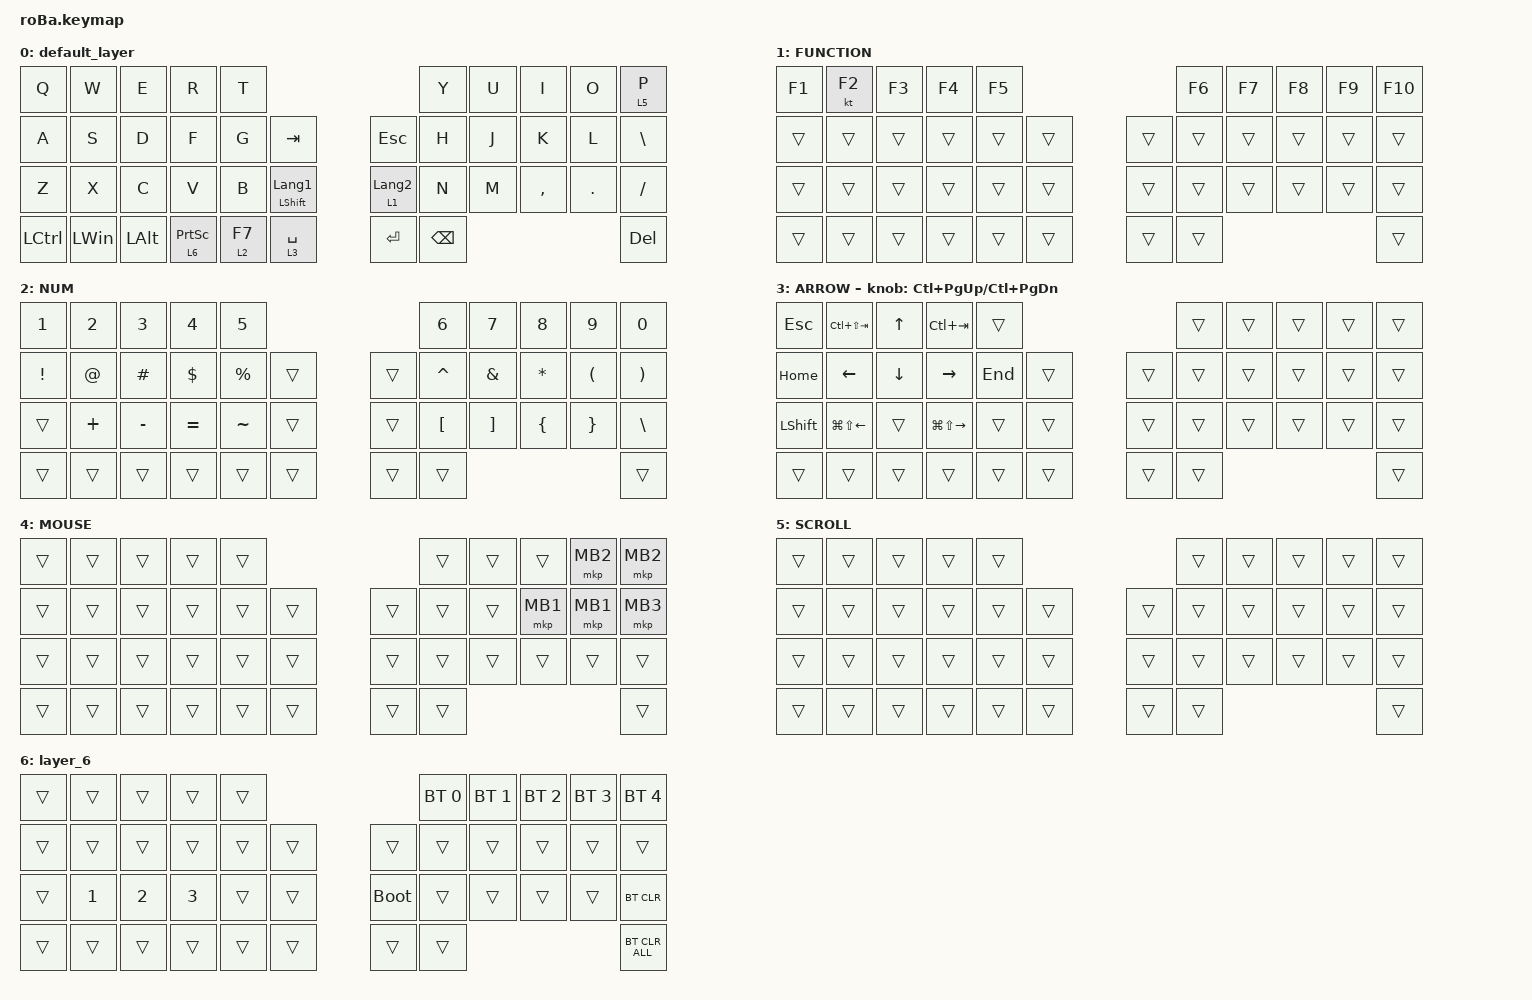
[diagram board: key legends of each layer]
#include <behaviors.dtsi>
#include <dt-bindings/zmk/bt.h>
#include <dt-bindings/zmk/keys.h>
#include <dt-bindings/zmk/pointing.h>

&mt {
    flavor = "balanced";
    quick-tap-ms = <0>;
};

&trackball {
    automouse-layer = <4>;
    scroll-layers = <5>;

    // arrows {
    //     layers = <3>;
    //     bindings =
    //         <&kp RIGHT_ARROW>,
    //         <&kp LEFT_ARROW>,
    //         <&kp UP_ARROW>,
    //         <&kp DOWN_ARROW>;
    //     tick = <10>;
    //     wait-ms = <5>;
    //     tap-ms = <5>;
    // };
};

/ {
    combos {
        compatible = "zmk,combos";

        tab {
            bindings = <&kp TAB>;
            key-positions = <11 12>;
        };

        shift_tab {
            bindings = <&kp LS(TAB)>;
            key-positions = <12 13>;
        };

        muhennkann {
            bindings = <&to_layer_0 INT_MUHENKAN>;
            key-positions = <11 10>;
        };

        double_quotation {
            bindings = <&kp DOUBLE_QUOTES>;
            key-positions = <20 21>;
        };

        eq {
            bindings = <&kp EQUAL>;
            key-positions = <24 25>;
        };
    };

    macros {
        to_layer_0: to_layer_0 {
            compatible = "zmk,behavior-macro-one-param";
            #binding-cells = <1>;
            bindings = <&to 0 &macro_param_1to1 &kp MACRO_PLACEHOLDER>;
            label = "TO_LAYER_0";
        };
    };

    behaviors {
        lt_to_layer_0: lt_to_layer_0 {
            compatible = "zmk,behavior-hold-tap";
            label = "LAYER_TAP_TO_0";
            bindings = <&mo>, <&to_layer_0>;

            #binding-cells = <2>;
            tapping-term-ms = <200>;
        };
    };

    keymap {
        compatible = "zmk,keymap";

        default_layer {
            bindings = <
&kp Q             &kp W         &kp E         &kp R                         &kp T                                                      &kp Y          &kp U  &kp I      &kp O    &lt 5 P
&kp A             &kp S         &kp D         &kp F                         &kp G     &kp TAB                        &kp ESC           &kp H          &kp J  &kp K      &kp L    &kp BACKSLASH
&kp Z             &kp X         &kp C         &kp V                         &kp B     &mt LEFT_SHIFT LANGUAGE_1      &lt 1 LANGUAGE_2  &kp N          &kp M  &kp COMMA  &kp DOT  &kp SLASH
&kp LEFT_CONTROL  &kp LEFT_WIN  &kp LEFT_ALT  &lt_to_layer_0 6 PRINTSCREEN  &lt 2 F7  &lt_to_layer_0 3 SPACE         &kp ENTER         &kp BACKSPACE                             &kp DELETE
            >;
        };

        FUNCTION {
            bindings = <
&kp F1  &kt F2  &kp F3  &kp F4  &kp F5                      &kp F6  &kp F7  &kp F8  &kp F9  &kp F10
&trans  &trans  &trans  &trans  &trans  &trans      &trans  &trans  &trans  &trans  &trans  &trans
&trans  &trans  &trans  &trans  &trans  &trans      &trans  &trans  &trans  &trans  &trans  &trans
&trans  &trans  &trans  &trans  &trans  &trans      &trans  &trans                          &trans
            >;
        };

        NUM {
            bindings = <
&kp NUMBER_1     &kp NUMBER_2  &kp NUMBER_3  &kp NUMBER_4  &kp NUMBER_5                      &kp NUMBER_6      &kp NUMBER_7       &kp NUMBER_8    &kp NUMBER_9          &kp NUMBER_0
&kp EXCLAMATION  &kp AT_SIGN   &kp HASH      &kp DOLLAR    &kp PERCENT   &trans      &trans  &kp CARET         &kp AMPERSAND      &kp ASTERISK    &kp LEFT_PARENTHESIS  &kp RIGHT_PARENTHESIS
&trans           &kp PLUS      &kp MINUS     &kp EQUAL     &kp TILDE     &trans      &trans  &kp LEFT_BRACKET  &kp RIGHT_BRACKET  &kp LEFT_BRACE  &kp RIGHT_BRACE       &kp BACKSLASH
&trans           &trans        &trans        &trans        &trans        &trans      &trans  &trans                                                                     &trans
            >;
        };

        ARROW {
            bindings = <
&kp ESCAPE      &kp LC(LS(TAB))         &kp UP_ARROW    &kp LC(TAB)              &trans                       &trans  &trans  &trans  &trans  &trans
&kp HOME        &kp LEFT_ARROW          &kp DOWN_ARROW  &kp RIGHT_ARROW          &kp END  &trans      &trans  &trans  &trans  &trans  &trans  &trans
&kp LEFT_SHIFT  &kp LG(LS(LEFT_ARROW))  &trans          &kp LG(LS(RIGHT_ARROW))  &trans   &trans      &trans  &trans  &trans  &trans  &trans  &trans
&trans          &trans                  &trans          &trans                   &trans   &trans      &trans  &trans                          &trans
            >;

            sensor-bindings = <&inc_dec_kp LC(PAGE_UP) LC(PAGE_DOWN)>;
        };

        MOUSE {
            bindings = <
&trans  &trans  &trans  &trans  &trans                      &trans  &trans  &trans    &mkp MB2  &mkp MB2
&trans  &trans  &trans  &trans  &trans  &trans      &trans  &trans  &trans  &mkp MB1  &mkp MB1  &mkp MB3
&trans  &trans  &trans  &trans  &trans  &trans      &trans  &trans  &trans  &trans    &trans    &trans
&trans  &trans  &trans  &trans  &trans  &trans      &trans  &trans                              &trans
            >;
        };

        SCROLL {
            bindings = <
&trans  &trans  &trans  &trans  &trans                      &trans  &trans  &trans  &trans  &trans
&trans  &trans  &trans  &trans  &trans  &trans      &trans  &trans  &trans  &trans  &trans  &trans
&trans  &trans  &trans  &trans  &trans  &trans      &trans  &trans  &trans  &trans  &trans  &trans
&trans  &trans  &trans  &trans  &trans  &trans      &trans  &trans                          &trans
            >;
        };

        layer_6 {
            bindings = <
&trans  &trans        &trans        &trans        &trans                           &bt BT_SEL 0  &bt BT_SEL 1  &bt BT_SEL 2  &bt BT_SEL 3  &bt BT_SEL 4
&trans  &trans        &trans        &trans        &trans  &trans      &trans       &trans        &trans        &trans        &trans        &trans
&trans  &kp NUMBER_1  &kp NUMBER_2  &kp NUMBER_3  &trans  &trans      &bootloader  &trans        &trans        &trans        &trans        &bt BT_CLR
&trans  &trans        &trans        &trans        &trans  &trans      &trans       &trans                                                  &bt BT_CLR_ALL
            >;
        };
    };
};
